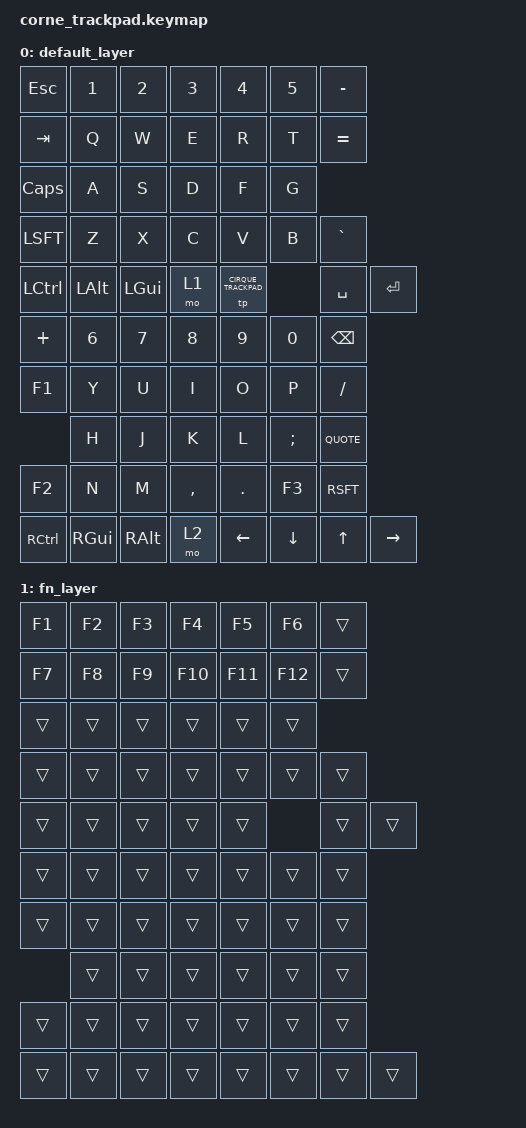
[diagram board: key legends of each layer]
#include <behaviors.dtsi>
#include <dt-bindings/zmk/trackpad.h>

/ {
    keymap {
        compatible = "zmk,keymap";

        default_layer {
            bindings = <
                &kp ESC   &kp N1   &kp N2   &kp N3   &kp N4   &kp N5   &kp MINUS
                &kp TAB   &kp Q    &kp W    &kp E    &kp R    &kp T    &kp EQUAL
                &kp CAPS  &kp A    &kp S    &kp D    &kp F    &kp G
                &kp LSFT  &kp Z    &kp X    &kp C    &kp V    &kp B    &kp GRAVE

                &kp LCTRL &kp LALT &kp LGUI &mo 1    &tp CIRQUE_TRACKPAD &kp SPACE &kp RET

                // Right half (mirrored)
                &kp PLUS  &kp N6   &kp N7   &kp N8   &kp N9   &kp N0   &kp BACKSPACE
                &kp F1    &kp Y    &kp U    &kp I    &kp O    &kp P    &kp SLASH
                          &kp H    &kp J    &kp K    &kp L    &kp SEMI &kp QUOTE
                &kp F2    &kp N    &kp M    &kp COMMA &kp DOT &kp F3   &kp RSFT

                &kp RCTRL &kp RGUI &kp RALT &mo 2    &kp LEFT &kp DOWN &kp UP   &kp RIGHT
            >;
        };

        // Layer 1 – Function / Media
        fn_layer {
            bindings = <
                &kp F1    &kp F2    &kp F3    &kp F4    &kp F5    &kp F6    &trans
                &kp F7    &kp F8    &kp F9    &kp F10   &kp F11   &kp F12   &trans
                &trans    &trans    &trans    &trans    &trans    &trans
                &trans    &trans    &trans    &trans    &trans    &trans    &trans

                &trans    &trans    &trans    &trans    &trans    &trans    &trans

                // Right half
                &trans    &trans    &trans    &trans    &trans    &trans    &trans
                &trans    &trans    &trans    &trans    &trans    &trans    &trans
                          &trans    &trans    &trans    &trans    &trans    &trans
                &trans    &trans    &trans    &trans    &trans    &trans    &trans

                &trans    &trans    &trans    &trans    &trans    &trans    &trans    &trans
            >;
        };
    };
};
